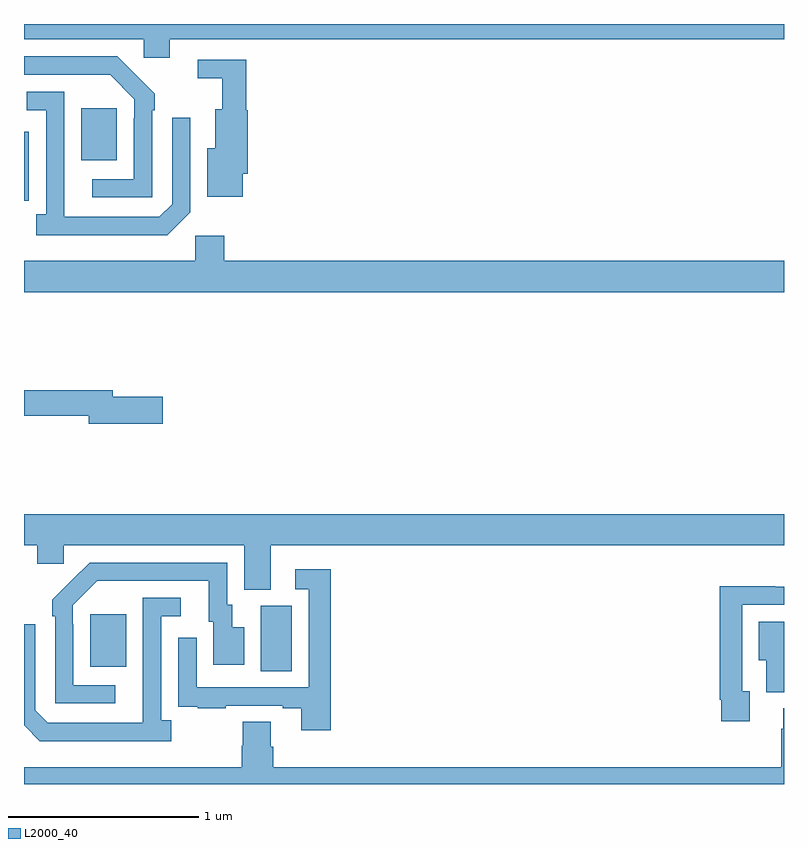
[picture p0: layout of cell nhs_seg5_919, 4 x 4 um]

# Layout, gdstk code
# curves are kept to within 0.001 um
import gdstk
lib = gdstk.Library(unit=1e-6, precision=1e-09)
def R(c, l, rs):  # rectangles x0, y0, x1, y1
    for r in rs: c.add(gdstk.rectangle(r[:2], r[2:], *l))
def P(c, l, *ps):  # polygons
    for p in ps: c.add(gdstk.Polygon(p, *l))
L2000_40 = (2000, 40)

nhs_seg5_919 = lib.new_cell('nhs_seg5_919')
R(nhs_seg5_919, L2000_40, [(170.246,893.392,170.41,893.736), (169.349,893.417,169.537,893.692), (169.301,896.081,169.489,896.356)])
P(nhs_seg5_919, L2000_40, [(169.768,896.72),(173,896.72),(173,896.799),(169,896.799),(169,896.72),(169.629,896.72),(169.629,896.622),(169.768,896.622)],
  [(169.674,896.345),(169.689,896.345),(169.689,896.433),(169.492,896.628),(169,896.628),(169,896.532),(169.453,896.532),(169.581,896.403),(169.581,896.303),(169.578,896.303),(169.578,895.983),(169.359,895.983),(169.359,895.887),(169.674,895.887)],
  [(170.152,896.01),(170.177,896.01),(170.177,896.346),(170.171,896.346),(170.171,896.61),(169.914,896.61),(169.914,896.513),(170.043,896.513),(170.043,896.35),(170.006,896.35),(170.006,896.146),(169.964,896.146),(169.964,895.889),(170.152,895.889)],
  [(169.875,895.809),(169.875,896.305),(169.779,896.305),(169.779,895.851),(169.713,895.785),(169.213,895.785),(169.212,896.442),(169.014,896.442),(169.014,896.346),(169.116,896.346),(169.116,895.798),(169.065,895.798),(169.065,895.688),(169.754,895.688)],
  [(169.025,895.978),(169.026,895.978),(169.026,896.233),(169,896.233),(169,895.869),(169.025,895.869)],
  [(173,895.552),(170.054,895.552),(170.054,895.684),(169.902,895.684),(169.902,895.552),(169,895.552),(169,895.388),(173,895.388)],
  [(169.729,894.836),(169.468,894.836),(169.468,894.872),(169,894.872),(169,894.736),(169.34,894.736),(169.34,894.694),(169.729,894.694)],
  [(170.299,894.056),(173,894.056),(173,894.22),(169,894.22),(169,894.056),(169.07,894.056),(169.07,893.958),(169.209,893.958),(169.209,894.056),(170.159,894.056),(170.159,893.821),(170.299,893.821)],
  [(169.48,893.319),(169.26,893.319),(169.26,893.639),(169.257,893.639),(169.257,893.739),(169.386,893.868),(169.973,893.868),(169.973,893.652),(169.997,893.652),(169.997,893.427),(170.158,893.427),(170.158,893.623),(170.095,893.623),(170.095,893.742),(170.07,893.742),(170.07,893.964),(169.346,893.964),(169.149,893.769),(169.149,893.681),(169.164,893.681),(169.164,893.223),(169.48,893.223)],
  [(170.615,893.929),(170.427,893.929),(170.427,893.823),(170.499,893.823),(170.499,893.307),(169.908,893.307),(169.908,893.569),(169.812,893.569),(169.812,893.314),(169.813,893.314),(169.813,893.205),(169.915,893.205),(169.915,893.199),(170.063,893.199),(170.063,893.211),(170.363,893.211),(170.363,893.199),(170.459,893.199),(170.459,893.082),(170.615,893.082)],
  [(172.819,893.286),(172.779,893.286),(172.779,893.742),(173,893.742),(173,893.838),(172.955,893.838),(172.955,893.84),(172.663,893.84),(172.663,893.242),(172.671,893.242),(172.671,893.13),(172.819,893.13)],
  [(169.774,893.134),(169.722,893.134),(169.722,893.682),(169.825,893.682),(169.825,893.778),(169.626,893.778),(169.625,893.121),(169.125,893.121),(169.059,893.187),(169.059,893.641),(169,893.641),(169,893.108),(169.084,893.024),(169.774,893.024)],
  [(173,893.653),(172.868,893.653),(172.868,893.45),(172.907,893.45),(172.907,893.282),(173,893.282)],
  [(173,893.197),(172.997,893.197),(172.997,893.09),(172.985,893.09),(172.985,892.888),(170.312,892.888),(170.312,892.994),(170.299,892.994),(170.299,893.126),(170.152,893.126),(170.152,893.001),(170.147,893.001),(170.147,892.888),(169,892.888),(169,892.799),(173,892.799)])

lib.write_gds('nhs_seg5_919.gds')
